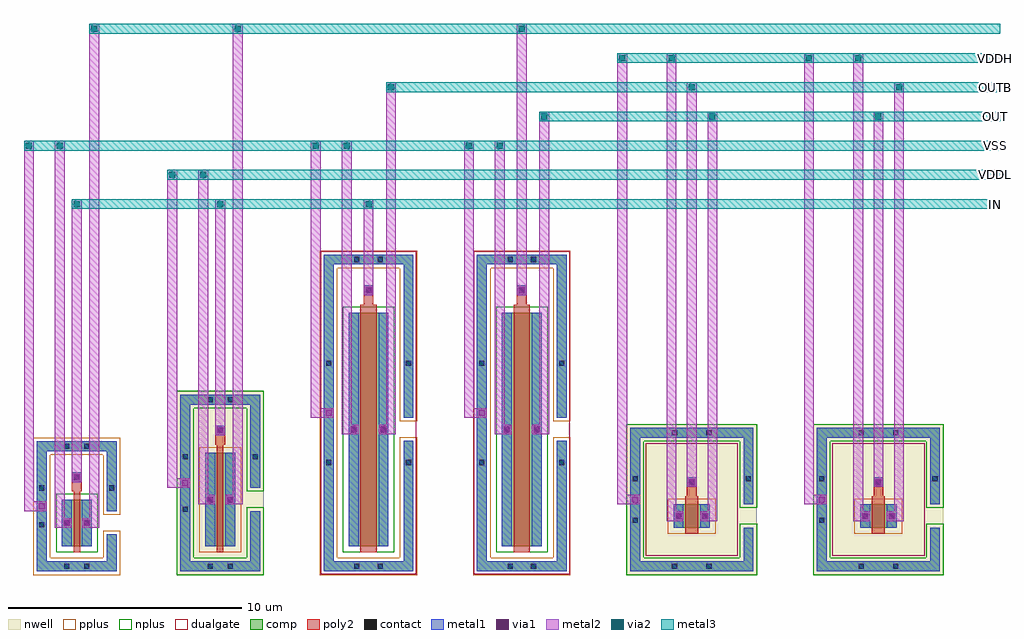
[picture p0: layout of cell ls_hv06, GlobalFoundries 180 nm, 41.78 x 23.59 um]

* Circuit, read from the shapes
.subckt ls_hv06 IN OUT OUTB VDDH VDDL VSS
XM1 n1 IN VSS VSS nfet_03v3 w=2u l=0.28u
XM2 OUTB IN VSS VSS nfet_06v0 w=10u l=0.7u
XM3 OUT n1 VSS VSS nfet_06v0 w=10u l=0.7u
XM4 n1 IN VDDL VDDL pfet_03v3 w=4u l=0.28u
XM5 OUT OUTB VDDH VDDH pfet_06v0 w=1u l=0.55u
XM6 OUTB OUT VDDH VDDH pfet_06v0 w=1u l=0.55u
.ends

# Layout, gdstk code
import gdstk
lib = gdstk.Library(unit=1e-6, precision=1e-09)
def R(c, l, rs):  # rectangles x0, y0, x1, y1
    for r in rs: c.add(gdstk.rectangle(r[:2], r[2:], *l))
def P(c, l, *ps):  # polygons
    for p in ps: c.add(gdstk.Polygon(p, *l))
nwell = (21, 0)
comp = (22, 0)
poly2 = (30, 0)
pplus = (31, 0)
nplus = (32, 0)
contact = (33, 0)
metal1 = (34, 0)
via1 = (35, 0)
metal2 = (36, 0)
via2 = (38, 0)
metal3 = (42, 0)
dualgate = (55, 0)

n33 = lib.new_cell('n33')
R(n33, comp, [(0,0,1.28,2)])
P(n33, comp, [(-1.07,-1.07),(-1.07,4.49),(2.35,4.49),(2.35,1.51),(1.93,1.51),(1.93,4.07),(-0.65,4.07),(-0.65,-0.65),(1.93,-0.65),(1.93,0.51),(2.35,0.51),(2.35,-1.07)])
R(n33, poly2, [(0.5,-0.25,0.78,2), (0.5,2,0.78,2.35), (0.43,2.35,0.85,3.17)])
P(n33, pplus, [(-1.23,-1.23),(-1.23,4.65),(2.51,4.65),(2.51,1.35),(1.77,1.35),(1.77,3.91),(-0.49,3.91),(-0.49,-0.49),(1.77,-0.49),(1.77,0.67),(2.51,0.67),(2.51,-1.23)])
R(n33, nplus, [(-0.25,-0.25,1.53,2.25)])
R(n33, contact, [(0.1,-0.97,0.32,-0.75), (0.96,-0.97,1.18,-0.75), (-0.97,0.815,-0.75,1.035), (0.1,0.89,0.32,1.11), (0.96,0.89,1.18,1.11), (-0.97,2.385,-0.75,2.605), (2.03,2.385,2.25,2.605), (0.53,2.85,0.75,3.07), (0.1,4.17,0.32,4.39), (0.96,4.17,1.18,4.39)])
R(n33, metal1, [(0,0,0.42,2), (0.86,0,1.28,2), (0.43,2.75,0.85,3.17)])
P(n33, metal1, [(-1.07,-1.07),(-1.07,4.49),(2.35,4.49),(2.35,1.51),(1.93,1.51),(1.93,4.07),(-0.65,4.07),(-0.65,-0.65),(1.93,-0.65),(1.93,0.51),(2.35,0.51),(2.35,-1.07)])

p33 = lib.new_cell('p33')
R(p33, nwell, [(-1.22,-1.22,2.5,6.64), (-0.15,-0.15,1.43,5.57)])
R(p33, comp, [(0,0,1.28,4)])
P(p33, comp, [(-1.07,-1.07),(-1.07,6.49),(2.35,6.49),(2.35,2.51),(1.93,2.51),(1.93,6.07),(-0.65,6.07),(-0.65,-0.65),(1.93,-0.65),(1.93,1.51),(2.35,1.51),(2.35,-1.07)])
R(p33, poly2, [(0.5,-0.25,0.78,4), (0.5,4,0.78,4.35), (0.43,4.35,0.85,5.17)])
R(p33, pplus, [(-0.25,-0.25,1.53,4.25)])
P(p33, nplus, [(-1.23,-1.23),(-1.23,6.65),(2.51,6.65),(2.51,2.35),(1.77,2.35),(1.77,5.91),(-0.49,5.91),(-0.49,-0.49),(1.77,-0.49),(1.77,1.67),(2.51,1.67),(2.51,-1.23)])
R(p33, contact, [(0.1,-0.97,0.32,-0.75), (0.96,-0.97,1.18,-0.75), (-0.97,1.48,-0.75,1.7), (0.1,1.89,0.32,2.11), (0.96,1.89,1.18,2.11), (-0.97,3.72,-0.75,3.94), (2.03,3.72,2.25,3.94), (0.53,4.85,0.75,5.07), (0.1,6.17,0.32,6.39), (0.96,6.17,1.18,6.39)])
R(p33, metal1, [(0,0,0.42,4), (0.86,0,1.28,4), (0.43,4.75,0.85,5.17)])
P(p33, metal1, [(-1.07,-1.07),(-1.07,6.49),(2.35,6.49),(2.35,2.51),(1.93,2.51),(1.93,6.07),(-0.65,6.07),(-0.65,-0.65),(1.93,-0.65),(1.93,1.51),(2.35,1.51),(2.35,-1.07)])

n60 = lib.new_cell('n60')
R(n60, comp, [(0,0,1.7,10)])
P(n60, comp, [(-1.07,-1.07),(-1.07,12.49),(2.77,12.49),(2.77,5.51),(2.35,5.51),(2.35,12.07),(-0.65,12.07),(-0.65,-0.65),(2.35,-0.65),(2.35,4.51),(2.77,4.51),(2.77,-1.07)])
R(n60, poly2, [(0.5,-0.25,1.2,10), (0.5,10,1.2,10.35), (0.64,10.35,1.06,11.17)])
P(n60, pplus, [(-1.23,-1.23),(-1.23,12.65),(2.93,12.65),(2.93,5.35),(2.19,5.35),(2.19,11.91),(-0.49,11.91),(-0.49,-0.49),(2.19,-0.49),(2.19,4.67),(2.93,4.67),(2.93,-1.23)])
R(n60, nplus, [(-0.25,-0.25,1.95,10.25)])
R(n60, contact, [(0.24,-0.97,0.46,-0.75), (1.24,-0.97,1.46,-0.75), (-0.97,3.48,-0.75,3.7), (2.45,3.48,2.67,3.7), (0.1,4.89,0.32,5.11), (1.38,4.89,1.6,5.11), (-0.97,7.72,-0.75,7.94), (2.45,7.72,2.67,7.94), (0.74,10.85,0.96,11.07), (0.24,12.17,0.46,12.39), (1.24,12.17,1.46,12.39)])
R(n60, metal1, [(0,0,0.42,10), (1.28,0,1.7,10), (0.64,10.75,1.06,11.17)])
P(n60, metal1, [(-1.07,-1.07),(-1.07,12.49),(2.77,12.49),(2.77,5.51),(2.35,5.51),(2.35,12.07),(-0.65,12.07),(-0.65,-0.65),(2.35,-0.65),(2.35,4.51),(2.77,4.51),(2.77,-1.07)])
R(n60, dualgate, [(-1.2,-1.2,2.9,12.62)])

p60 = lib.new_cell('p60')
R(p60, nwell, [(-2.01,-2.01,3.56,4.43), (-0.15,-0.15,1.7,2.57)])
R(p60, comp, [(0,0,1.55,1)])
P(p60, comp, [(-1.86,-1.86),(-1.86,4.28),(3.41,4.28),(3.41,1.01),(2.99,1.01),(2.99,3.86),(-1.44,3.86),(-1.44,-1.44),(2.99,-1.44),(2.99,0.01),(3.41,0.01),(3.41,-1.86)])
R(p60, poly2, [(0.5,-0.25,1.05,1), (0.5,1,1.05,1.35), (0.565,1.35,0.985,2.17)])
R(p60, pplus, [(-0.25,-0.25,1.8,1.25)])
P(p60, nplus, [(-2.02,-2.02),(-2.02,4.44),(3.57,4.44),(3.57,0.85),(2.83,0.85),(2.83,3.7),(-1.28,3.7),(-1.28,-1.28),(2.83,-1.28),(2.83,0.17),(3.57,0.17),(3.57,-2.02)])
R(p60, contact, [(-0.075,-1.76,0.145,-1.54), (1.405,-1.76,1.625,-1.54), (-1.76,0.215,-1.54,0.435), (0.1,0.39,0.32,0.61), (1.23,0.39,1.45,0.61), (0.665,1.85,0.885,2.07), (-1.76,1.985,-1.54,2.205), (3.09,1.985,3.31,2.205), (-0.075,3.96,0.145,4.18), (1.405,3.96,1.625,4.18)])
R(p60, metal1, [(0,0,0.42,1), (1.13,0,1.55,1), (0.565,1.75,0.985,2.17)])
P(p60, metal1, [(-1.86,-1.86),(-1.86,4.28),(3.41,4.28),(3.41,1.01),(2.99,1.01),(2.99,3.86),(-1.44,3.86),(-1.44,-1.44),(2.99,-1.44),(2.99,0.01),(3.41,0.01),(3.41,-1.86)])
R(p60, dualgate, [(-1.2,-1.2,2.75,3.62)])

ls_hv06 = lib.new_cell('ls_hv06')
R(ls_hv06, via1, [(2.51,3.1,2.77,3.36), (3.37,3.1,3.63,3.36), (28.7,3.39,28.96,3.65), (29.83,3.39,30.09,3.65), (36.69,3.39,36.95,3.65), (37.82,3.39,38.08,3.65), (1.44,3.81,1.7,4.07), (8.65,4.1,8.91,4.36), (9.51,4.1,9.77,4.36), (26.84,4.1,27.1,4.36), (34.83,4.1,35.09,4.36), (7.58,4.81,7.84,5.07), (29.265,4.85,29.525,5.11), (37.255,4.85,37.515,5.11), (2.94,5.06,3.2,5.32), (9.08,7.06,9.34,7.32), (14.79,7.1,15.05,7.36), (16.07,7.1,16.33,7.36), (21.35,7.1,21.61,7.36), (22.63,7.1,22.89,7.36), (13.72,7.81,13.98,8.07), (20.28,7.81,20.54,8.07), (15.43,13.06,15.69,13.32), (21.99,13.06,22.25,13.32)])
R(ls_hv06, metal2, [(2.13,3.02,2.85,3.44), (2.13,3.02,2.55,19.59), (2.43,3.02,2.85,3.44), (3.29,3.02,3.71,3.44), (3.29,3.02,4.03,3.44), (3.61,3.02,4.03,24.59), (28.32,3.31,29.04,3.73), (28.32,3.31,28.74,23.34), (28.62,3.31,29.04,3.73), (29.75,3.31,30.17,3.73), (29.75,3.31,30.49,3.73), (30.07,3.31,30.49,20.84), (36.31,3.31,37.03,3.73), (36.31,3.31,36.73,23.34), (36.61,3.31,37.03,3.73), (37.74,3.31,38.16,3.73), (37.74,3.31,38.48,3.73), (38.06,3.31,38.48,22.09), (0.81,3.73,1.78,4.15), (0.81,3.73,1.23,19.59), (1.36,3.73,1.78,4.15), (8.27,4.02,8.99,4.44), (8.27,4.02,8.69,18.34), (8.57,4.02,8.99,4.44), (9.43,4.02,9.85,4.44), (9.43,4.02,10.17,4.44), (9.75,4.02,10.17,24.59), (26.21,4.02,27.18,4.44), (26.21,4.02,26.63,23.34), (26.76,4.02,27.18,4.44), (34.2,4.02,35.17,4.44), (34.2,4.02,34.62,23.34), (34.75,4.02,35.17,4.44), (6.95,4.73,7.92,5.15), (6.95,4.73,7.37,18.34), (7.5,4.73,7.92,5.15), (29.185,4.77,29.605,5.19), (29.185,4.77,29.605,5.19), (29.185,4.77,29.605,22.09), (37.175,4.77,37.595,5.19), (37.175,4.77,37.595,5.19), (37.175,4.77,37.595,20.84), (2.86,4.98,3.28,5.4), (2.86,4.98,3.28,5.4), (2.86,4.98,3.28,17.09), (9,6.98,9.42,7.4), (9,6.98,9.42,7.4), (9,6.98,9.42,17.09), (14.41,7.02,15.13,7.44), (14.41,7.02,14.83,19.59), (14.71,7.02,15.13,7.44), (15.99,7.02,16.41,7.44), (15.99,7.02,16.73,7.44), (16.31,7.02,16.73,22.09), (20.97,7.02,21.69,7.44), (20.97,7.02,21.39,19.59), (21.27,7.02,21.69,7.44), (22.55,7.02,22.97,7.44), (22.55,7.02,23.29,7.44), (22.87,7.02,23.29,20.84), (13.09,7.73,14.06,8.15), (13.09,7.73,13.51,19.59), (13.64,7.73,14.06,8.15), (19.65,7.73,20.62,8.15), (19.65,7.73,20.07,19.59), (20.2,7.73,20.62,8.15), (15.35,12.98,15.77,13.4), (15.35,12.98,15.77,13.4), (15.35,12.98,15.77,17.09), (21.91,12.98,22.33,13.4), (21.91,12.98,22.33,13.4), (21.91,12.98,22.33,24.59)])
R(ls_hv06, via2, [(2.94,16.75,3.2,17.01), (9.08,16.75,9.34,17.01), (15.43,16.75,15.69,17.01), (7.03,18,7.29,18.26), (8.35,18,8.61,18.26), (0.89,19.25,1.15,19.51), (2.21,19.25,2.47,19.51), (13.17,19.25,13.43,19.51), (14.49,19.25,14.75,19.51), (19.73,19.25,19.99,19.51), (21.05,19.25,21.31,19.51), (22.95,20.5,23.21,20.76), (30.15,20.5,30.41,20.76), (37.255,20.5,37.515,20.76), (16.39,21.75,16.65,22.01), (29.265,21.75,29.525,22.01), (38.14,21.75,38.4,22.01), (26.29,23,26.55,23.26), (28.4,23,28.66,23.26), (34.28,23,34.54,23.26), (36.39,23,36.65,23.26), (3.69,24.25,3.95,24.51), (9.83,24.25,10.09,24.51), (21.99,24.25,22.25,24.51)])
R(ls_hv06, metal3, [(2.86,16.67,3.28,17.09), (2.86,16.67,42.59,17.09), (9,16.67,9.42,17.09), (15.35,16.67,15.77,17.09), (6.95,17.92,7.37,18.34), (6.95,17.92,42.59,18.34), (8.27,17.92,8.69,18.34), (0.81,19.17,1.23,19.59), (0.81,19.17,42.59,19.59), (2.13,19.17,2.55,19.59), (13.09,19.17,13.51,19.59), (14.41,19.17,14.83,19.59), (19.65,19.17,20.07,19.59), (20.97,19.17,21.39,19.59), (22.87,20.42,23.29,20.84), (22.87,20.42,42.59,20.84), (30.07,20.42,30.49,20.84), (37.175,20.42,37.595,20.84), (16.31,21.67,16.73,22.09), (16.31,21.67,42.59,22.09), (29.185,21.67,29.605,22.09), (38.06,21.67,38.48,22.09), (26.21,22.92,26.63,23.34), (26.21,22.92,42.59,23.34), (28.32,22.92,28.74,23.34), (34.2,22.92,34.62,23.34), (36.31,22.92,36.73,23.34), (3.61,24.17,4.03,24.59), (3.61,24.17,42.59,24.59), (9.75,24.17,10.17,24.59), (21.91,24.17,22.33,24.59)])
ls_hv06.add(gdstk.Reference(n33, (2.43,2.23)))
ls_hv06.add(gdstk.Reference(p33, (8.57,2.23)))
ls_hv06.add(gdstk.Reference(n60, (14.71,2.23)))
ls_hv06.add(gdstk.Reference(n60, (21.27,2.23)))
ls_hv06.add(gdstk.Reference(p60, (28.62,3.02)))
ls_hv06.add(gdstk.Reference(p60, (36.61,3.02)))
ls_hv06.add(gdstk.Label('IN', (42.38,16.88), layer=42, texttype=10))
ls_hv06.add(gdstk.Label('VDDL', (42.38,18.13), layer=42, texttype=10))
ls_hv06.add(gdstk.Label('VSS', (42.38,19.38), layer=42, texttype=10))
ls_hv06.add(gdstk.Label('OUT', (42.38,20.63), layer=42, texttype=10))
ls_hv06.add(gdstk.Label('OUTB', (42.38,21.88), layer=42, texttype=10))
ls_hv06.add(gdstk.Label('VDDH', (42.38,23.13), layer=42, texttype=10))

lib.write_gds('ls_hv06.gds')
